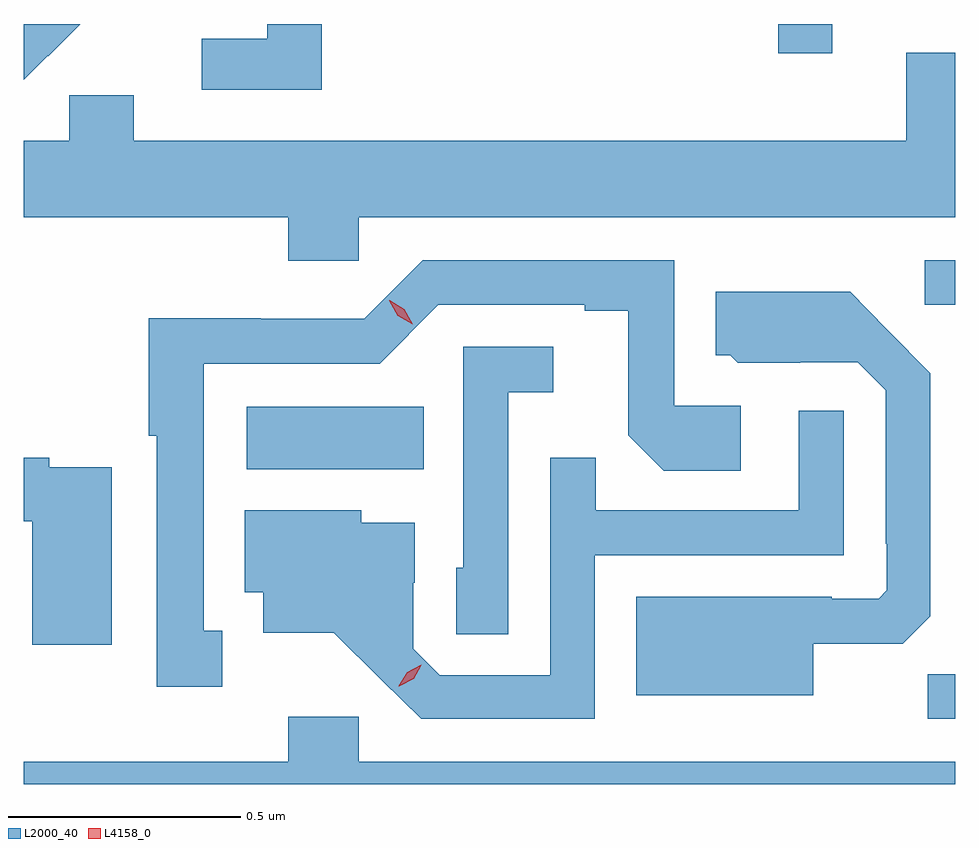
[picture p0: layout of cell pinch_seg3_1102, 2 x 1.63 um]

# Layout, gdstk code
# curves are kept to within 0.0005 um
import gdstk
lib = gdstk.Library(unit=1e-6, precision=1e-09)
def R(c, l, rs):  # rectangles x0, y0, x1, y1
    for r in rs: c.add(gdstk.rectangle(r[:2], r[2:], *l))
def P(c, l, *ps):  # polygons
    for p in ps: c.add(gdstk.Polygon(p, *l))
L2000_40 = (2000, 40)
L4158_0 = (4158, 0)

pinch_seg3_1102 = lib.new_cell('pinch_seg3_1102')
R(pinch_seg3_1102, L2000_40, [(327.094,666.54,327.153,666.635), (325.632,667.076,326.012,667.21), (327.087,667.428,327.153,667.524), (326.773,667.968,326.889,668.031)])
P(pinch_seg3_1102, L2000_40, [(325.205,667.963),(325.206,667.962),(325.275,668.031),(325.153,668.031),(325.153,667.911)],
  [(325.793,668.031),(325.676,668.031),(325.676,667.999),(325.536,667.999),(325.536,667.89),(325.793,667.89)],
  [(325.872,667.616),(327.153,667.616),(327.153,667.969),(327.047,667.969),(327.047,667.78),(325.39,667.78),(325.39,667.878),(325.251,667.878),(325.251,667.78),(325.153,667.78),(325.153,667.616),(325.721,667.616),(325.721,667.523),(325.872,667.523)],
  [(325.579,666.729),(325.54,666.729),(325.54,667.302),(325.917,667.302),(326.043,667.428),(326.357,667.428),(326.357,667.416),(326.451,667.416),(326.451,667.148),(326.527,667.072),(326.692,667.072),(326.692,667.212),(326.55,667.212),(326.55,667.524),(326.01,667.524),(325.884,667.398),(325.662,667.398),(325.662,667.4),(325.422,667.4),(325.422,667.147),(325.439,667.147),(325.439,666.609),(325.579,666.609)],
  [(326.848,666.701),(327.04,666.701),(327.099,666.76),(327.099,667.282),(326.927,667.456),(326.639,667.456),(326.639,667.32),(326.67,667.32),(326.686,667.304),(326.82,667.304),(326.82,667.305),(326.943,667.305),(327.003,667.245),(327.003,666.916),(327.006,666.916),(327.006,666.816),(326.988,666.798),(326.888,666.798),(326.888,666.802),(326.468,666.802),(326.468,666.59),(326.848,666.59)],
  [(326.193,667.241),(326.29,667.241),(326.29,667.338),(326.097,667.338),(326.097,666.864),(326.082,666.864),(326.082,666.721),(326.193,666.721)],
  [(326.379,666.891),(326.913,666.891),(326.913,667.201),(326.817,667.201),(326.817,666.987),(326.381,666.987),(326.381,667.1),(326.283,667.1),(326.283,666.633),(326.046,666.633),(325.989,666.69),(325.989,666.832),(325.993,666.832),(325.993,666.961),(325.878,666.961),(325.878,666.988),(325.628,666.988),(325.628,666.812),(325.667,666.812),(325.667,666.725),(325.819,666.725),(326.006,666.54),(326.379,666.54)],
  [(325.342,667.08),(325.208,667.08),(325.208,667.1),(325.153,667.1),(325.153,666.964),(325.172,666.964),(325.172,666.699),(325.342,666.699)],
  [(327.153,666.448),(325.872,666.448),(325.872,666.544),(325.721,666.544),(325.721,666.448),(325.153,666.448),(325.153,666.4),(327.153,666.4)])
P(pinch_seg3_1102, L4158_0, [(325.958,666.61),(325.958,666.611),(325.976,666.64),(326.007,666.656),(326.007,666.656),(326.007,666.655),(325.99,666.626),(325.959,666.61)],
  [(325.988,667.387),(325.956,667.405),(325.938,667.437),(325.938,667.438),(325.939,667.438),(325.97,667.419),(325.988,667.387),(325.988,667.387)])

lib.write_gds('pinch_seg3_1102.gds')
